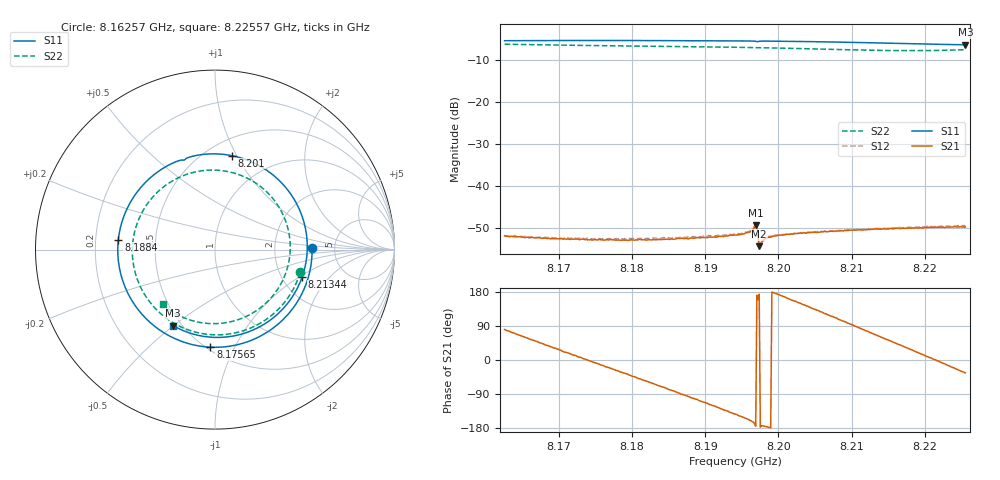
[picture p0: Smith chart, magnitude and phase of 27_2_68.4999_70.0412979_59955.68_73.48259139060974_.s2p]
#  HZ  S  RI  R  50.00
! Rohde & Schwarz Vector Network Analyzer
! Rohde-Schwarz,ZNB20-2Port,1311601062101988,3.16
! Created: UTC 3/20/2024, 5:04:55 PM
! freq[Hz]  re:S11  im:S11  re:S21  im:S21  re:S12  im:S12  re:S22  im:S22
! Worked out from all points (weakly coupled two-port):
!   401 points, 8.16257 GHz to 8.22557 GHz, reference 50 ohm
!   highest |S21| = -49.41 dB at 8.19691 GHz (marker M1); lowest = -54.5 dB at 8.19738 GHz (marker M2)
!   lowest |S11| = -6.3 dB at 8.22557 GHz (marker M3), VSWR 2.87, Z = 22.5 - j24.9 ohm
!   |S11| at or under -10 dB: nowhere
!   |S22| runs from -7.7 to -6.2 dB; largest |S21 - S12| = 0.00021
!   S11 on the Smith chart (normalised r, x): 8.16257 GHz: 3.35, +0.07; 8.17565 GHz: 0.52, -0.81; 8.1884 GHz: 0.30, +0.05; 8.201 GHz: 0.66, +0.96; 8.21344 GHz: 2.57, -1.06; 8.22557 GHz: 0.45, -0.50
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8.162573e9  0.5406 0.00717  0.000414 0.00249  0.000409 0.00249  0.4745 -0.1265
8.167455e9  0.4505 -0.3039  0.00168 0.00169  0.00172 0.00169  0.3175 -0.3645
8.173125e9  0.1456 -0.5247  0.00229 0.000215  0.00236 0.000211  0.0151 -0.4749
8.175645e9  -0.0251 -0.5438  0.00221 -0.000485  0.00227 -0.000485  -0.1267 -0.4548
8.179425e9  -0.2721 -0.4708  0.00176 -0.00135  0.00182 -0.00149  -0.3107 -0.3494
8.183677e9  -0.4751 -0.2627  0.000862 -0.00213  0.000885 -0.00221  -0.4379 -0.1514
8.188402e9  -0.5385 0.0556  -0.000465 -0.00232  -0.000497 -0.0024  -0.4456 0.108
8.191237e9  -0.4818 0.2446  -0.00127 -0.00208  -0.0014 -0.00206  -0.38 0.2507
8.194072e9  -0.3595 0.4008  -0.00204 -0.00156  -0.00213 -0.00154  -0.2693 0.3623
8.196907e9  -0.1839 0.4993  -0.00337 -0.000319  -0.00348 -0.000224  -0.1254 0.4288
8.197379e9  -0.1618 0.5071  -0.00188 0.000211  -0.0019 0.00031  -0.0996 0.4349
8.197694e9  -0.1394 0.5161  -0.00207 -0.00022  -0.00211 -0.000142  -0.0821 0.4381
8.198639e9  -0.0725 0.5296  -0.00241 -0.000102  -0.00247 -3.94e-05  -0.0288 0.4431
8.201002e9  0.0941 0.5235  -0.00252 0.000653  -0.0025 0.000777  0.1043 0.4268
8.204624e9  0.3239 0.4154  -0.002 0.00192  -0.00196 0.00197  0.2846 0.3252
8.209192e9  0.4972 0.1469  -0.000525 0.00286  -0.000418 0.0029  0.4121 0.0914
8.213444e9  0.4853 -0.1531  0.00127 0.0028  0.00135 0.00278  0.3809 -0.1633
8.215176e9  0.4301 -0.2645  0.00192 0.00241  0.00199 0.00238  0.3236 -0.2556
8.218011e9  0.2858 -0.4082  0.00272 0.00148  0.00284 0.00144  0.1822 -0.3685
8.220531e9  0.1183 -0.4781  0.00316 0.000417  0.00324 0.000297  0.0233 -0.4116
8.223051e9  -0.0631 -0.4836  0.00313 -0.00074  0.00321 -0.000894  -0.1436 -0.3909
8.225571e9  -0.2342 -0.4231  0.00267 -0.0018  0.00269 -0.00199  -0.2922 -0.3057
